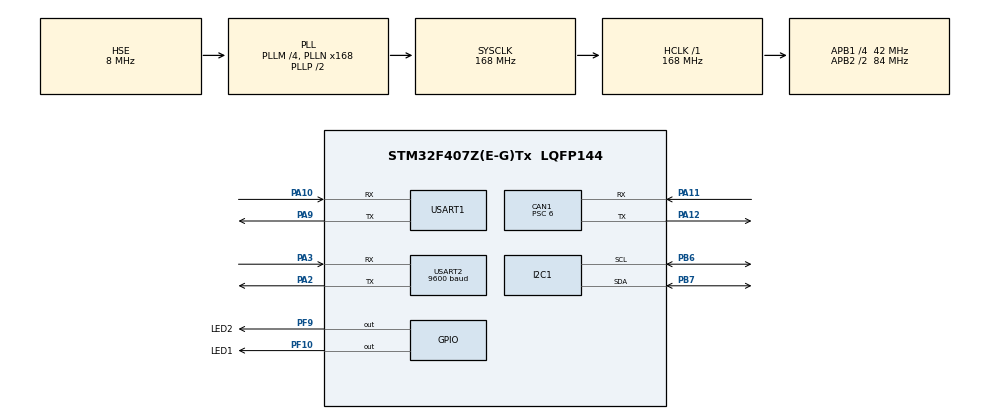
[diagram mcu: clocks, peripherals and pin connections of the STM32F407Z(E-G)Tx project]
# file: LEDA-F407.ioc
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ADC1.Channel-0\#ChannelRegularConversion=ADC_CHANNEL_TEMPSENSOR
ADC1.NbrOfConversionFlag=1
ADC1.Rank-0\#ChannelRegularConversion=1
ADC1.SamplingTime-0\#ChannelRegularConversion=ADC_SAMPLETIME_3CYCLES
ADC1.master=1
CAN1.BS1=CAN_BS1_6TQ
CAN1.BS2=CAN_BS2_7TQ
CAN1.CalculateBaudRate=500000
CAN1.CalculateTimeBit=2000
CAN1.CalculateTimeQuantum=142.85714285714286
CAN1.Mode=CAN_MODE_LOOPBACK
CAN1.Prescaler=6
Mcu.Family=STM32F4
Mcu.Name=STM32F407Z(E-G)Tx
Mcu.Package=LQFP144
NVIC.CAN1_RX0_IRQn=true\:0\:0\:false\:false\:true\:true\:true\:true
NVIC.PriorityGroup=NVIC_PRIORITYGROUP_4
NVIC.TIM8_TRG_COM_TIM14_IRQn=true\:0\:0\:false\:false\:true\:true\:true\:true
NVIC.TIM8_UP_TIM13_IRQn=true\:0\:0\:false\:false\:true\:true\:true\:true
PA10.Mode=Asynchronous
PA10.Signal=USART1_RX
PA11.Mode=CAN_Activate
PA11.Signal=CAN1_RX
PA12.Mode=CAN_Activate
PA12.Signal=CAN1_TX
PA13.Mode=JTAG_5_pins
PA13.Signal=SYS_JTMS-SWDIO
PA14.Mode=JTAG_5_pins
PA14.Signal=SYS_JTCK-SWCLK
PA15.Mode=JTAG_5_pins
PA15.Signal=SYS_JTDI
PA2.Mode=Asynchronous
PA2.Signal=USART2_TX
PA3.Mode=Asynchronous
PA3.Signal=USART2_RX
PA9.Mode=Asynchronous
PA9.Signal=USART1_TX
PB3.Mode=JTAG_5_pins
PB3.Signal=SYS_JTDO-SWO
PB4.Mode=JTAG_5_pins
PB4.Signal=SYS_JTRST
PB6.Mode=I2C
PB6.Signal=I2C1_SCL
PB7.Mode=I2C
PB7.Signal=I2C1_SDA
PF10.GPIO_Label=LED1
PF10.Signal=GPIO_Output
PF9.GPIO_Label=LED2
PF9.Signal=GPIO_Output
PH0-OSC_IN.Mode=HSE-External-Oscillator
PH0-OSC_IN.Signal=RCC_OSC_IN
PH1-OSC_OUT.Mode=HSE-External-Oscillator
PH1-OSC_OUT.Signal=RCC_OSC_OUT
ProjectManager.HeapSize=0x200
ProjectManager.StackSize=0x400
ProjectManager.TargetToolchain=STM32CubeIDE
RCC.48MHZClocksFreq_Value=56000000
RCC.AHBFreq_Value=168000000
RCC.APB1CLKDivider=RCC_HCLK_DIV4
RCC.APB1Freq_Value=42000000
RCC.APB1TimFreq_Value=84000000
RCC.APB2CLKDivider=RCC_HCLK_DIV2
RCC.APB2Freq_Value=84000000
RCC.APB2TimFreq_Value=168000000
RCC.CortexFreq_Value=168000000
RCC.HCLKFreq_Value=168000000
RCC.HSE_VALUE=8000000
RCC.HSI_VALUE=16000000
RCC.LSE_VALUE=32768
RCC.PLLM=4
RCC.PLLN=168
RCC.PLLQ=6
RCC.PLLSourceVirtual=RCC_PLLSOURCE_HSE
RCC.SYSCLKFreq_VALUE=168000000
RCC.SYSCLKSource=RCC_SYSCLKSOURCE_PLLCLK
RCC.VCOOutputFreq_Value=336000000
TIM13.Period=10000-1
TIM13.Prescaler=16800-1
TIM14.Period=1000-1
TIM14.Prescaler=16800-1
USART1.VirtualMode=VM_ASYNC
USART2.BaudRate=9600
USART2.VirtualMode=VM_ASYNC
VP_ADC1_TempSens_Input.Mode=IN-TempSens
VP_TIM13_VS_ClockSourceINT.Mode=Enable_Timer
VP_TIM14_VS_ClockSourceINT.Mode=Enable_Timer
board=custom

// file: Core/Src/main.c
/* USER CODE BEGIN Header */
/**
  ******************************************************************************
  * @file           : main.c
  * @brief          : Main program body
  ******************************************************************************
  * @attention
  *
  * Copyright (c) 2022 STMicroelectronics.
  * All rights reserved.
  *
  * This software is licensed under terms that can be found in the LICENSE file
  * in the root directory of this software component.
  * If no LICENSE file comes with this software, it is provided AS-IS.
  *
  ******************************************************************************
  */
/* USER CODE END Header */
#include "main.h"

/* USER CODE BEGIN Includes */

#include <stdio.h>
#include <string.h>

//#include "usbd_cdc_if.h"

/* USER CODE END Includes */

/* USER CODE BEGIN PD */

//==========ACELEROMETRO==========//
#define MPU6050_ADDR 		0xD0
#define SMPLRT_DIV_REG 		0x19
#define GYRO_CONFIG_REG 	0x1B
#define ACCEL_CONFIG_REG 	0x1C
#define ACCEL_XOUT_H_REG 	0x3B
#define TEMP_OUT_H_REG 		0x41
#define GYRO_XOUT_H_REG 	0x43
#define PWR_MGMT_1_REG 		0x6B
#define WHO_AM_I_REG 		0x75

//==========TEMP==========//
#define Avg_Slope .0025
#define V25 0.76

//==========MATH==========//
#define numberOfIterations 10 //how many times moving average will be performed

/* USER CODE END PD */

ADC_HandleTypeDef hadc1;

CAN_HandleTypeDef hcan1;

I2C_HandleTypeDef hi2c1;

TIM_HandleTypeDef htim13;
TIM_HandleTypeDef htim14;

UART_HandleTypeDef huart1;
UART_HandleTypeDef huart2;

/* USER CODE BEGIN PV */

//==========GPS==========//
#define GPS_DEBUG	0
#define	GPS_USART	&huart2
#define GPSBUFSIZE  128       // GPS buffer size

/* USER CODE END PV */

void SystemClock_Config(void);
static void MX_GPIO_Init(void);
static void MX_I2C1_Init(void);
static void MX_ADC1_Init(void);
static void MX_USART1_UART_Init(void);
static void MX_USART2_UART_Init(void);
static void MX_TIM14_Init(void);
static void MX_CAN1_Init(void);
static void MX_TIM13_Init(void);
/* USER CODE BEGIN PFP */

//==========ACELEROMETRO==========//
void MPU6050_Init	 	(void);
void MPU6050_Read_Gyro  (void);
void MPU6050_Read_Accel (void);

//==========GPS==========//
void GPS_Init();
void GSP_USBPrint(char *data);
void GPS_print_val(char *data, int value);
void GPS_UART_CallBack();
int GPS_validate(char *nmeastr);
void GPS_parse(char *GPSstrParse);
float GPS_nmea_to_dec(float deg_coord, char nsew);

//==========TEMP==========//
float ADC_Select_CHTemp  (void);

//==========NEXTION==========//
void Nextion_SendString (char *ID,char *string);
void Nextion_SendInt    (char *ID,int var);
void Nextion_Sendfloat  (char *ID,float var);

//==========OPERATION==========//
void updateDisplay(void);

//==========MATH==========//
//long moving_average(float content, const int n);
float mvAx(float content, const int n);
float mvAy(float content, const int n);
float mvAz(float content, const int n);

float mvGx(float content, const int n);
float mvGy(float content, const int n);
float mvGz(float content, const int n);

//==========MCU==========//
void invertLed(void);

//==========CAN==========//
void sendCan();

/* USER CODE END PFP */

/* USER CODE BEGIN 0 */

//==========CAN==========//

CAN_TxHeaderTypeDef txHeader;
CAN_RxHeaderTypeDef rxHeader;

uint8_t txData[8];
uint8_t rxData[8];
uint32_t txMailBox;

uint8_t dataCheck = 0;

//==========ACELEROMETRO==========//

typedef struct acelerometro
{
	volatile float 	ax,
		  	  	  	ay,
					az,
					gx,
					gy,
					gz;
} acelerometro;

typedef struct{

    // calculated values
    float dec_longitude;
    float dec_latitude;
    float altitude_ft;

    // GGA - Global Positioning System Fixed Data
    float nmea_longitude;
    float nmea_latitude;
    float utc_time;
    char ns, ew;
    int lock;
    int satelites;
    float hdop;
    float msl_altitude;
    char msl_units;

    // RMC - Recommended Minimmum Specific GNS Data
    char rmc_status;
    float speed_k;
    float course_d;
    int date;

    // GLL
    char gll_status;

    // VTG - Course over ground, ground speed
    float course_t; // ground speed true
    char course_t_unit;
    float course_m; // magnetic
    char course_m_unit;
    char speed_k_unit;
    float speed_km; // speek km/hr
    char speed_km_unit;
} GPS_t;

volatile acelerometro MPU6050;
volatile acelerometro average;

//==========GPS==========//

#if (GPS_DEBUG == 1)
#include <usbd_cdc_if.h>
#endif

uint8_t rx_data = 0;
uint8_t rx_buffer[GPSBUFSIZE];
uint8_t rx_index = 0;

GPS_t GPS;

#if (GPS_DEBUG == 1)
void GPS_print(char *data){
	char buf[GPSBUFSIZE] = {0,};
	sprintf(buf, "%s\n", data);
	CDC_Transmit_FS((unsigned char *) buf, (uint16_t) strlen(buf));
}
#endif

//==========ACELEROMETRO==========//

void MPU6050_Init(void)
{
	uint8_t check;
	uint8_t Data;

	HAL_I2C_Mem_Read (&hi2c1, MPU6050_ADDR,WHO_AM_I_REG,1, &check, 1, 1000);

	if (check == 104)  // 0x68
	{
		Data = 0;
		HAL_I2C_Mem_Write(&hi2c1, MPU6050_ADDR, PWR_MGMT_1_REG, 1,&Data, 1, 1000);

		Data = 0x07;
		HAL_I2C_Mem_Write(&hi2c1, MPU6050_ADDR, SMPLRT_DIV_REG, 1, &Data, 1, 1000);

		Data = 0x00;
		HAL_I2C_Mem_Write(&hi2c1, MPU6050_ADDR, ACCEL_CONFIG_REG, 1, &Data, 1, 1000);

		Data = 0x00;
		HAL_I2C_Mem_Write(&hi2c1, MPU6050_ADDR, GYRO_CONFIG_REG, 1, &Data, 1, 1000);
	}

}

void MPU6050_Read_Accel (void)
{
	uint8_t Rec_Data[6];

	int16_t Accel_X_RAW = 0;
	int16_t Accel_Y_RAW = 0;
	int16_t Accel_Z_RAW = 0;

	HAL_I2C_Mem_Read (&hi2c1, MPU6050_ADDR, ACCEL_XOUT_H_REG, 1, Rec_Data, 6, 1000);

	Accel_X_RAW = (int16_t)(Rec_Data[0] << 8 | Rec_Data [1]);
	Accel_Y_RAW = (int16_t)(Rec_Data[2] << 8 | Rec_Data [3]);
	Accel_Z_RAW = (int16_t)(Rec_Data[4] << 8 | Rec_Data [5]);

	MPU6050.ax = ((float)Accel_X_RAW/16384.0)*10;
	MPU6050.ay = ((float)Accel_Y_RAW/16384.0)*10;
	MPU6050.az = ((float)Accel_Z_RAW/16384.0)*10;

	average.ax = mvAx(MPU6050.ax, numberOfIterations);
	average.ay = mvAy(MPU6050.ay, numberOfIterations);
	average.az = mvAy(MPU6050.az, numberOfIterations);

}

void MPU6050_Read_Gyro  (void)
{
	uint8_t Rec_Data[6];

	int16_t Gyro_X_RAW = 0;
	int16_t Gyro_Y_RAW = 0;
	int16_t Gyro_Z_RAW = 0;

	HAL_I2C_Mem_Read (&hi2c1, MPU6050_ADDR, GYRO_XOUT_H_REG, 1, Rec_Data, 6, 1000);

	Gyro_X_RAW = (int16_t)(Rec_Data[0] << 8 | Rec_Data [1]);
	Gyro_Y_RAW = (int16_t)(Rec_Data[2] << 8 | Rec_Data [3]);
	Gyro_Z_RAW = (int16_t)(Rec_Data[4] << 8 | Rec_Data [5]);

	MPU6050.gx = (float)Gyro_X_RAW/131.0;
	MPU6050.gy = (float)Gyro_Y_RAW/131.0;
	MPU6050.gz = (float)Gyro_Z_RAW/131.0;

	//average.gx = mvGx(MPU6050.gx, numberOfIterations);
	//average.gy = mvGy(MPU6050.gy, numberOfIterations);
	//average.gz = mvGy(MPU6050.gz, numberOfIterations);

}

//==========GPS==========//

void GPS_Init()
{
	HAL_UART_Receive_IT(GPS_USART, &rx_data, 1);
}

void GPS_UART_CallBack(){
	if (rx_data != '\n' && rx_index < sizeof(rx_buffer)) {
		rx_buffer[rx_index++] = rx_data;
	} else {

		#if (GPS_DEBUG == 1)
		GPS_print((char*)rx_buffer);
		#endif

		if(GPS_validate((char*) rx_buffer))
			GPS_parse((char*) rx_buffer);
		rx_index = 0;
		memset(rx_buffer, 0, sizeof(rx_buffer));
	}
	HAL_UART_Receive_IT(GPS_USART, &rx_data, 1);
}

int GPS_validate(char *nmeastr){
    char check[3];
    char checkcalcstr[3];
    int i;
    int calculated_check;

    i=0;
    calculated_check=0;

    // check to ensure that the string starts with a $
    if(nmeastr[i] == '$')
        i++;
    else
        return 0;

    //No NULL reached, 75 char largest possible NMEA message, no '*' reached
    while((nmeastr[i] != 0) && (nmeastr[i] != '*') && (i < 75)){
        calculated_check ^= nmeastr[i];// calculate the checksum
        i++;
    }

    if(i >= 75){
        return 0;// the string was too long so return an error
    }

    if (nmeastr[i] == '*'){
        check[0] = nmeastr[i+1];    //put hex chars in check string
        check[1] = nmeastr[i+2];
        check[2] = 0;
    }
    else
        return 0;// no checksum separator found there for invalid

    sprintf(checkcalcstr,"%02X",calculated_check);
    return((checkcalcstr[0] == check[0])
        && (checkcalcstr[1] == check[1])) ? 1 : 0 ;
}

void GPS_parse(char *GPSstrParse){
    if(!strncmp(GPSstrParse, "$GPGGA", 6)){
    	if (sscanf(GPSstrParse, "$GPGGA,%f,%f,%c,%f,%c,%d,%d,%f,%f,%c", &GPS.utc_time, &GPS.nmea_latitude, &GPS.ns, &GPS.nmea_longitude, &GPS.ew, &GPS.lock, &GPS.satelites, &GPS.hdop, &GPS.msl_altitude, &GPS.msl_units) >= 1){
    		GPS.dec_latitude = GPS_nmea_to_dec(GPS.nmea_latitude, GPS.ns);
    		GPS.dec_longitude = GPS_nmea_to_dec(GPS.nmea_longitude, GPS.ew);
    		return;
    	}
    }
    else if (!strncmp(GPSstrParse, "$GPRMC", 6)){
    	if(sscanf(GPSstrParse, "$GPRMC,%f,%f,%c,%f,%c,%f,%f,%d", &GPS.utc_time, &GPS.nmea_latitude, &GPS.ns, &GPS.nmea_longitude, &GPS.ew, &GPS.speed_k, &GPS.course_d, &GPS.date) >= 1)
    		return;

    }
    else if (!strncmp(GPSstrParse, "$GPGLL", 6)){
        if(sscanf(GPSstrParse, "$GPGLL,%f,%c,%f,%c,%f,%c", &GPS.nmea_latitude, &GPS.ns, &GPS.nmea_longitude, &GPS.ew, &GPS.utc_time, &GPS.gll_status) >= 1)
            return;
    }
    else if (!strncmp(GPSstrParse, "$GPVTG", 6)){
        if(sscanf(GPSstrParse, "$GPVTG,%f,%c,%f,%c,%f,%c,%f,%c", &GPS.course_t, &GPS.course_t_unit, &GPS.course_m, &GPS.course_m_unit, &GPS.speed_k, &GPS.speed_k_unit, &GPS.speed_km, &GPS.speed_km_unit) >= 1)
            return;
    }
}

float GPS_nmea_to_dec(float deg_coord, char nsew) {
    int degree = (int)(deg_coord/100);
    float minutes = deg_coord - degree*100;
    float dec_deg = minutes / 60;
    float decimal = degree + dec_deg;
    if (nsew == 'S' || nsew == 'W') { // return negative
        decimal *= -1;
    }
    return decimal;
}

//==========NEXTION==========//

void Nextion_SendString(char *ID,char *string)
{
	uint8_t Cmd_End[3] = {0xFF, 0xFF, 0xFF};

	char buf[64];

	sprintf(buf,"%s.txt=\"%s\"", ID, string);

	HAL_UART_Transmit(&huart1, (uint8_t*)buf, strlen(buf), 100);
	HAL_UART_Transmit(&huart1, Cmd_End, 3, 10);
}

void Nextion_SendInt(char *ID,int var)
{
	char buf[64];
	sprintf(buf,"%d",var);
	Nextion_SendString(ID,buf);
}

void Nextion_Sendfloat(char *ID,float var)
{
	char buf[64];
	sprintf(buf,"%.2f",var);
	Nextion_SendString(ID,buf);
}

void updateDisplay(void)
{
	Nextion_Sendfloat("ax", average.ax);
	Nextion_Sendfloat("ay", average.ay);
	Nextion_Sendfloat("az", average.az);

	Nextion_Sendfloat("gx", MPU6050.gx/10);
	Nextion_Sendfloat("gy", MPU6050.gy/10);
	Nextion_Sendfloat("gz", MPU6050.gz/10);

	//Nextion_Sendfloat("gx", average.gx);
	//Nextion_Sendfloat("gy", average.gy);
	//Nextion_Sendfloat("gz", average.gz);

	Nextion_SendString("lat", "-19,92449");
	Nextion_SendString("long","-43,99313");

	Nextion_Sendfloat("temp", ADC_Select_CHTemp());

}

//==========TEMP==========//

float ADC_Select_CHTemp(void)
{

	float Temp = 0;

	uint16_t ADC_READING = 0;

	ADC_ChannelConfTypeDef sConfig = {0};

	sConfig.Channel = ADC_CHANNEL_TEMPSENSOR;
	sConfig.Rank = 1;
	if (HAL_ADC_ConfigChannel(&hadc1, &sConfig) != HAL_OK)
	{
	  Error_Handler();
	}

	HAL_ADC_Start(&hadc1);
	HAL_ADC_PollForConversion(&hadc1, 1000);
	ADC_READING = HAL_ADC_GetValue(&hadc1);
	HAL_ADC_Stop(&hadc1);

	Temp = ((3.3*ADC_READING/4095 - V25)/Avg_Slope)+25;

	return Temp;
}

//==========MATH==========//

float mvAx(float content, const int n)
{
	float acc = 0;

	static float  numbersAx[numberOfIterations];

	for(int i= n-1; i>0; i--) numbersAx[i] = numbersAx[i-1]; //pay attention to n-1

	numbersAx[0] = content;

	for(int i=0; i<n; i++) acc += numbersAx[i];

	return acc/n;
}

float mvAy(float content, const int n)
{
	float acc = 0;

	static float  numbersAy[numberOfIterations];

	for(int i= n-1; i>0; i--) numbersAy[i] = numbersAy[i-1]; //pay attention to n-1

	numbersAy[0] = content;

	for(int i=0; i<n; i++) acc += numbersAy[i];

	return acc/n;
}

float mvAz(float content, const int n)
{
	float acc = 0;

	static float  numbersAz[numberOfIterations];

	for(int i= n-1; i>0; i--) numbersAz[i] = numbersAz[i-1]; //pay attention to n-1

	numbersAz[0] = content;

	for(int i=0; i<n; i++) acc += numbersAz[i];

	return acc/n;
}

float mvGx(float content, const int n)
{
	float acc = 0;

	static float  numbersGx[numberOfIterations];

	for(int i= n-1; i>0; i--) numbersGx[i] = numbersGx[i-1]; //pay attention to n-1

	numbersGx[0] = content;

	for(int i=0; i<n; i++) acc += numbersGx[i];

	return acc/n;
}

float mvGy(float content, const int n)
{
	float acc = 0;

	static float  numbersGy[numberOfIterations];

	for(int i= n-1; i>0; i--) numbersGy[i] = numbersGy[i-1]; //pay attention to n-1

	numbersGy[0] = content;

	for(int i=0; i<n; i++) acc += numbersGy[i];

	return acc/n;
}

float mvGz(float content, const int n)
{
	float acc = 0;

	static float  numbersGz[numberOfIterations];

	for(int i= n-1; i>0; i--) numbersGz[i] = numbersGz[i-1]; //pay attention to n-1

	numbersGz[0] = content;

	for(int i=0; i<n; i++) acc += numbersGz[i];

	return acc/n;
}

//==========MCU==========//

void invertLed(void)
{
	HAL_GPIO_TogglePin(LED2_GPIO_Port, LED2_Pin);
}

void HAL_TIM_PeriodElapsedCallback(TIM_HandleTypeDef *htim)
{
	if(htim==&htim14)
	{
		MPU6050_Read_Accel();
		MPU6050_Read_Gyro();

		updateDisplay();

		invertLed();
	}

	if(htim==&htim13)
	{
		sendCan();
	}
}

void HAL_UART_RxCpltCallback(UART_HandleTypeDef *huart)
{
	if(huart == &huart2) GPS_UART_CallBack();
}

//==========CAN==========//

void HAL_CAN_RxFifo0MsgPendingCallback(CAN_HandleTypeDef *hcan)
{
	HAL_CAN_GetRxMessage(hcan, CAN_RX_FIFO0, &rxHeader, rxData);
	Nextion_SendString("cam", "LED sinc via CAN");
	dataCheck = 1;
}

void sendCan()
{
	txData[0] = 6;

	HAL_GPIO_TogglePin(LED1_GPIO_Port, LED1_Pin);
	HAL_CAN_AddTxMessage(&hcan1, &txHeader, txData, &txMailBox);

	Nextion_SendString("cam", "Mensagem enviada CAN");
	/*
	 * CANTX - PA12
	 * CANRX - PA11
	 */
}
/* USER CODE END 0 */

int main(void)
{

  /* MCU Configuration--------------------------------------------------------*/

  /* Reset of all peripherals, Initializes the Flash interface and the Systick. */
  HAL_Init();

  /* Configure the system clock */
  SystemClock_Config();

  /* Initialize all configured peripherals */
  MX_GPIO_Init();
  MX_I2C1_Init();
  MX_ADC1_Init();
  MX_USART1_UART_Init();
  MX_USART2_UART_Init();
  MX_TIM14_Init();
  MX_CAN1_Init();
  MX_TIM13_Init();
  /* USER CODE BEGIN 2 */

  MPU6050_Init();

  //GPS_Init();

  HAL_TIM_Base_Start_IT(&htim14);
  HAL_TIM_Base_Start_IT(&htim13);

  HAL_CAN_Start(&hcan1);

  HAL_CAN_ActivateNotification(&hcan1, CAN_IT_RX_FIFO0_MSG_PENDING);

  txHeader.DLC 		= 1;
  txHeader.ExtId 	= 0;
  txHeader.IDE 		= CAN_ID_STD;
  txHeader.RTR 		= CAN_RTR_DATA;
  txHeader.StdId 	= 0x407; //sender ID
  txHeader.TransmitGlobalTime = DISABLE;

  //HAL_GPIO_WritePin(GPIOF, LED1_Pin|LED2_Pin, GPIO_PIN_SET);

  /* USER CODE END 2 */

  /* Infinite loop */
  while (1)
  {

    /* USER CODE BEGIN 3 */
	HAL_Delay(1);
  }
  /* USER CODE END 3 */
}

void SystemClock_Config(void)
{
  RCC_OscInitTypeDef RCC_OscInitStruct = {0};
  RCC_ClkInitTypeDef RCC_ClkInitStruct = {0};

  /** Configure the main internal regulator output voltage
  */
  __HAL_RCC_PWR_CLK_ENABLE();
  __HAL_PWR_VOLTAGESCALING_CONFIG(PWR_REGULATOR_VOLTAGE_SCALE1);

  /** Initializes the RCC Oscillators according to the specified parameters
  * in the RCC_OscInitTypeDef structure.
  */
  RCC_OscInitStruct.OscillatorType = RCC_OSCILLATORTYPE_HSE;
  RCC_OscInitStruct.HSEState = RCC_HSE_ON;
  RCC_OscInitStruct.PLL.PLLState = RCC_PLL_ON;
  RCC_OscInitStruct.PLL.PLLSource = RCC_PLLSOURCE_HSE;
  RCC_OscInitStruct.PLL.PLLM = 4;
  RCC_OscInitStruct.PLL.PLLN = 168;
  RCC_OscInitStruct.PLL.PLLP = RCC_PLLP_DIV2;
  RCC_OscInitStruct.PLL.PLLQ = 6;
  if (HAL_RCC_OscConfig(&RCC_OscInitStruct) != HAL_OK)
  {
    Error_Handler();
  }

  /** Initializes the CPU, AHB and APB buses clocks
  */
  RCC_ClkInitStruct.ClockType = RCC_CLOCKTYPE_HCLK|RCC_CLOCKTYPE_SYSCLK
                              |RCC_CLOCKTYPE_PCLK1|RCC_CLOCKTYPE_PCLK2;
  RCC_ClkInitStruct.SYSCLKSource = RCC_SYSCLKSOURCE_PLLCLK;
  RCC_ClkInitStruct.AHBCLKDivider = RCC_SYSCLK_DIV1;
  RCC_ClkInitStruct.APB1CLKDivider = RCC_HCLK_DIV4;
  RCC_ClkInitStruct.APB2CLKDivider = RCC_HCLK_DIV2;

  if (HAL_RCC_ClockConfig(&RCC_ClkInitStruct, FLASH_LATENCY_5) != HAL_OK)
  {
    Error_Handler();
  }
}

static void MX_ADC1_Init(void)
{

  ADC_ChannelConfTypeDef sConfig = {0};

  /** Configure the global features of the ADC (Clock, Resolution, Data Alignment and number of conversion)
  */
  hadc1.Instance = ADC1;
  hadc1.Init.ClockPrescaler = ADC_CLOCK_SYNC_PCLK_DIV4;
  hadc1.Init.Resolution = ADC_RESOLUTION_12B;
  hadc1.Init.ScanConvMode = DISABLE;
  hadc1.Init.ContinuousConvMode = DISABLE;
  hadc1.Init.DiscontinuousConvMode = DISABLE;
  hadc1.Init.ExternalTrigConvEdge = ADC_EXTERNALTRIGCONVEDGE_NONE;
  hadc1.Init.ExternalTrigConv = ADC_SOFTWARE_START;
  hadc1.Init.DataAlign = ADC_DATAALIGN_RIGHT;
  hadc1.Init.NbrOfConversion = 1;
  hadc1.Init.DMAContinuousRequests = DISABLE;
  hadc1.Init.EOCSelection = ADC_EOC_SINGLE_CONV;
  if (HAL_ADC_Init(&hadc1) != HAL_OK)
  {
    Error_Handler();
  }

  /** Configure for the selected ADC regular channel its corresponding rank in the sequencer and its sample time.
  */
  sConfig.Channel = ADC_CHANNEL_TEMPSENSOR;
  sConfig.Rank = 1;
  sConfig.SamplingTime = ADC_SAMPLETIME_3CYCLES;
  if (HAL_ADC_ConfigChannel(&hadc1, &sConfig) != HAL_OK)
  {
    Error_Handler();
  }

}

static void MX_CAN1_Init(void)
{

  hcan1.Instance = CAN1;
  hcan1.Init.Prescaler = 6;
  hcan1.Init.Mode = CAN_MODE_LOOPBACK;
  hcan1.Init.SyncJumpWidth = CAN_SJW_1TQ;
  hcan1.Init.TimeSeg1 = CAN_BS1_6TQ;
  hcan1.Init.TimeSeg2 = CAN_BS2_7TQ;
  hcan1.Init.TimeTriggeredMode = DISABLE;
  hcan1.Init.AutoBusOff = DISABLE;
  hcan1.Init.AutoWakeUp = DISABLE;
  hcan1.Init.AutoRetransmission = DISABLE;
  hcan1.Init.ReceiveFifoLocked = DISABLE;
  hcan1.Init.TransmitFifoPriority = DISABLE;
  if (HAL_CAN_Init(&hcan1) != HAL_OK)
  {
    Error_Handler();
  }
  /* USER CODE BEGIN CAN1_Init 2 */

  CAN_FilterTypeDef canfilterconfig;

  canfilterconfig.FilterActivation		=	CAN_FILTER_ENABLE;
  canfilterconfig.FilterBank			=	18;
  canfilterconfig.FilterFIFOAssignment	= 	CAN_FILTER_FIFO0;
  canfilterconfig.FilterIdHigh			=	0x407<<5;//0x407<<5;//address that will be let to pass
  canfilterconfig.FilterIdLow			=	0x0000;
  canfilterconfig.FilterMaskIdHigh		=	0x407<<5;//0x407<<5;
  canfilterconfig.FilterMaskIdLow		=	0x0000;
  canfilterconfig.FilterMode			=	CAN_FILTERMODE_IDMASK;
  canfilterconfig.FilterScale			=	CAN_FILTERSCALE_32BIT;
  canfilterconfig.SlaveStartFilterBank	=	20;//20;

  HAL_CAN_ConfigFilter(&hcan1, &canfilterconfig);

  /* USER CODE END CAN1_Init 2 */

}

static void MX_I2C1_Init(void)
{

  hi2c1.Instance = I2C1;
  hi2c1.Init.ClockSpeed = 100000;
  hi2c1.Init.DutyCycle = I2C_DUTYCYCLE_2;
  hi2c1.Init.OwnAddress1 = 0;
  hi2c1.Init.AddressingMode = I2C_ADDRESSINGMODE_7BIT;
  hi2c1.Init.DualAddressMode = I2C_DUALADDRESS_DISABLE;
  hi2c1.Init.OwnAddress2 = 0;
  hi2c1.Init.GeneralCallMode = I2C_GENERALCALL_DISABLE;
  hi2c1.Init.NoStretchMode = I2C_NOSTRETCH_DISABLE;
  if (HAL_I2C_Init(&hi2c1) != HAL_OK)
  {
    Error_Handler();
  }

}

static void MX_TIM13_Init(void)
{

  htim13.Instance = TIM13;
  htim13.Init.Prescaler = 16800-1;
  htim13.Init.CounterMode = TIM_COUNTERMODE_UP;
  htim13.Init.Period = 10000-1;
  htim13.Init.ClockDivision = TIM_CLOCKDIVISION_DIV1;
  htim13.Init.AutoReloadPreload = TIM_AUTORELOAD_PRELOAD_DISABLE;
  if (HAL_TIM_Base_Init(&htim13) != HAL_OK)
  {
    Error_Handler();
  }

}

static void MX_TIM14_Init(void)
{

  htim14.Instance = TIM14;
  htim14.Init.Prescaler = 16800-1;
  htim14.Init.CounterMode = TIM_COUNTERMODE_UP;
  htim14.Init.Period = 1000-1;
  htim14.Init.ClockDivision = TIM_CLOCKDIVISION_DIV1;
  htim14.Init.AutoReloadPreload = TIM_AUTORELOAD_PRELOAD_DISABLE;
  if (HAL_TIM_Base_Init(&htim14) != HAL_OK)
  {
    Error_Handler();
  }

}

static void MX_USART1_UART_Init(void)
{

  huart1.Instance = USART1;
  huart1.Init.BaudRate = 115200;
  huart1.Init.WordLength = UART_WORDLENGTH_8B;
  huart1.Init.StopBits = UART_STOPBITS_1;
  huart1.Init.Parity = UART_PARITY_NONE;
  huart1.Init.Mode = UART_MODE_TX_RX;
  huart1.Init.HwFlowCtl = UART_HWCONTROL_NONE;
  huart1.Init.OverSampling = UART_OVERSAMPLING_16;
  if (HAL_UART_Init(&huart1) != HAL_OK)
  {
    Error_Handler();
  }

}

static void MX_USART2_UART_Init(void)
{

  huart2.Instance = USART2;
  huart2.Init.BaudRate = 9600;
  huart2.Init.WordLength = UART_WORDLENGTH_8B;
  huart2.Init.StopBits = UART_STOPBITS_1;
  huart2.Init.Parity = UART_PARITY_NONE;
  huart2.Init.Mode = UART_MODE_TX_RX;
  huart2.Init.HwFlowCtl = UART_HWCONTROL_NONE;
  huart2.Init.OverSampling = UART_OVERSAMPLING_16;
  if (HAL_UART_Init(&huart2) != HAL_OK)
  {
    Error_Handler();
  }

}

static void MX_GPIO_Init(void)
{
  GPIO_InitTypeDef GPIO_InitStruct = {0};

  /* GPIO Ports Clock Enable */
  __HAL_RCC_GPIOF_CLK_ENABLE();
  __HAL_RCC_GPIOH_CLK_ENABLE();
  __HAL_RCC_GPIOA_CLK_ENABLE();
  __HAL_RCC_GPIOB_CLK_ENABLE();

  /*Configure GPIO pin Output Level */
  HAL_GPIO_WritePin(GPIOF, LED2_Pin|LED1_Pin, GPIO_PIN_RESET);

  /*Configure GPIO pins : LED2_Pin LED1_Pin */
  GPIO_InitStruct.Pin = LED2_Pin|LED1_Pin;
  GPIO_InitStruct.Mode = GPIO_MODE_OUTPUT_PP;
  GPIO_InitStruct.Pull = GPIO_NOPULL;
  GPIO_InitStruct.Speed = GPIO_SPEED_FREQ_LOW;
  HAL_GPIO_Init(GPIOF, &GPIO_InitStruct);

}

void Error_Handler(void)
{
  __disable_irq();
  while (1)
  {
  }
}
